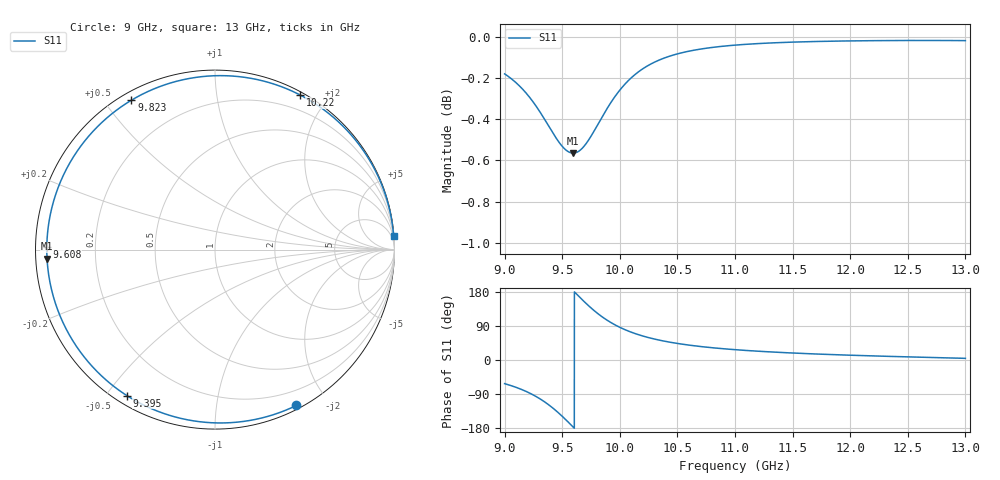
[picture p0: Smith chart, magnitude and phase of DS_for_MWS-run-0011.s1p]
! TOUCHSTONE file generated by CST DESIGN STUDIO
! Date and time: Wed Feb  5 13:20:53 2025
! Project name: C:\Work\MatlabApps\UnitCellOptimizationMatlab\CST\unitcell.cst
! Tree item: Tasks\Sweep1\SPara1\S-Parameters
! Header version: 2024
! Port assignment regex: !\s*Touchstone port\s*([0-9]+)\s*=\s*(CST MWS port|CST DES external port|CST DES block port)\s*(.+)\s* \(\"(.*)\"\)(\s*mode\s*([0-9]+))?.*
! Touchstone port assignment:
! Touchstone port 1 = CST DES external port 1 ("")
# GHz S MA R 50
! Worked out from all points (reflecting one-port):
!   4001 points, 9 GHz to 13 GHz, reference 50 ohm
!   lowest |S11| = -0.6 dB at 9.595 GHz (marker M1), VSWR 30.80, Z = 1.62 - j1.35 ohm
!   phase of S11 starts at -62 deg and turns -293 deg over the sweep
!   S11 on the Smith chart (normalised r, x): 9 GHz: 0.04, -1.65; 9.395 GHz: 0.03, -0.56; 9.608 GHz: 0.03, +0.01; 9.823 GHz: 0.03, +0.59; 10.22 GHz: 0.03, +1.69; 13 GHz: 1, +26
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9  0.9796 -62.4
9.051  0.9773 -67.1
9.122  0.9734 -74.7
9.243  0.9647 -91.3
9.324  0.9573 -105.8
9.395  0.9502 -121.1
9.447  0.9451 -134.0
9.5  0.9407 -148.5
9.549  0.938 -162.9
9.595  0.9371 -176.9
9.608  0.9372 179.1
9.652  0.9385 165.6
9.699  0.9414 151.7
9.761  0.9471 134.5
9.823  0.9537 119.2
9.862  0.9579 110.6
9.904  0.9622 102.3
10  0.9707 86.2
10.107  0.9779 72.5
10.224  0.9834 61.2
10.351  0.9875 51.9
10.5  0.9906 43.7
10.72  0.9935 34.9
11  0.9955 27.2
11.5  0.9972 18.4
12  0.9979 12.6
12.5  0.9981 8.2
13  0.998 4.4
